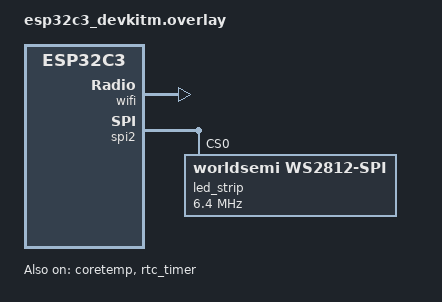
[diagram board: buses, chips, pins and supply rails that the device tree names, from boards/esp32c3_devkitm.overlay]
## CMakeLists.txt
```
# SPDX-License-Identifier: Apache-2.0

# Default board
set(BOARD esp32s3_devkitm/esp32s3/procpu)

cmake_minimum_required(VERSION 3.20.0)

# Select a version-specific config overlay before Zephyr is loaded
file(READ "$ENV{ZEPHYR_BASE}/VERSION" _zephyr_version_file)
string(REGEX MATCH "VERSION_MAJOR = ([0-9]+)" _ ${_zephyr_version_file})
set(_zephyr_major ${CMAKE_MATCH_1})
string(REGEX MATCH "VERSION_MINOR = ([0-9]+)" _ ${_zephyr_version_file})
set(_zephyr_minor ${CMAKE_MATCH_1})
string(REGEX MATCH "PATCHLEVEL = ([0-9]+)" _ ${_zephyr_version_file})
set(_zephyr_patch ${CMAKE_MATCH_1})

if("${_zephyr_major}.${_zephyr_minor}.${_zephyr_patch}" VERSION_GREATER_EQUAL "4.4.99")
  set(OVERLAY_CONFIG "${OVERLAY_CONFIG};${CMAKE_CURRENT_SOURCE_DIR}/overlays/zephyr-v4.5.conf")
elseif("${_zephyr_major}.${_zephyr_minor}.${_zephyr_patch}" VERSION_GREATER_EQUAL "4.3.99")
  set(OVERLAY_CONFIG "${OVERLAY_CONFIG};${CMAKE_CURRENT_SOURCE_DIR}/overlays/zephyr-v4.4.conf")
else()
  set(OVERLAY_CONFIG "${OVERLAY_CONFIG};${CMAKE_CURRENT_SOURCE_DIR}/overlays/zephyr-v4.3.conf")
endif()

find_package(Zephyr REQUIRED HINTS $ENV{ZEPHYR_BASE})
project(wifi)

FILE(GLOB app_sources src/*.c)
target_sources(app PRIVATE ${app_sources})
zephyr_include_directories(config)

# Generate a git hash that's used as part of the software_version, eg
# 1.0.0+12345678. Permit overriding at command line for CI builds.
if (NOT DEFINED ZEPHYR_MEMFAULT_EXAMPLE_GIT_SHA1)
  EXECUTE_PROCESS(
    WORKING_DIRECTORY ${CMAKE_CURRENT_SOURCE_DIR}
    COMMAND git rev-parse --short HEAD
    RESULT_VARIABLE commit_sha1
    OUTPUT_VARIABLE ZEPHYR_MEMFAULT_EXAMPLE_GIT_SHA1
    OUTPUT_STRIP_TRAILING_WHITESPACE
    COMMAND_ERROR_IS_FATAL ANY
  )
endif()

zephyr_compile_definitions(
  ZEPHYR_MEMFAULT_EXAMPLE_GIT_SHA1=\"${ZEPHYR_MEMFAULT_EXAMPLE_GIT_SHA1}\"
)
```

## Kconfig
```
# Application Kconfig file
#
# This is loaded when building this directory with west.
menu "Memfault Example Application Configuration"

config MEMFAULT_APP_OVERRIDE_SOFTWARE_VERSION
	string "Override default software version"
	default ""
	help
	  Set this to override the built-in software version string from the
	  VERSION file. Primarily used for building in CI.

config WIFI_WATCHDOG_ENABLE
	bool "Enable WiFi watchdog"
	default y
	depends on WIFI && MEMFAULT
	help
	  Enable WiFi watchdog that monitors WiFi connectivity and reboots
	  if a known network is available but not connected for a configurable
	  period of time.

config WIFI_WATCHDOG_TIMEOUT_MINUTES
	int "WiFi watchdog timeout in minutes"
	default 5
	depends on WIFI_WATCHDOG_ENABLE
	help
	  Time in minutes to wait before triggering a reboot when WiFi
	  credentials are configured, a known network is detected, but
	  WiFi is not connected.

config WIFI_WATCHDOG_CHECK_INTERVAL_SECONDS
	int "WiFi watchdog check interval in seconds"
	default 30
	depends on WIFI_WATCHDOG_ENABLE
	help
	  Interval in seconds between WiFi watchdog checks.

endmenu

config MEMFAULT_BUILTIN_DEVICE_INFO_SOFTWARE_VERSION
	default MEMFAULT_APP_OVERRIDE_SOFTWARE_VERSION if MEMFAULT_APP_OVERRIDE_SOFTWARE_VERSION != ""

config MCUBOOT_IMGTOOL_SIGN_VERSION
	default MEMFAULT_APP_OVERRIDE_SOFTWARE_VERSION if MEMFAULT_APP_OVERRIDE_SOFTWARE_VERSION != ""

source "Kconfig.zephyr"
```

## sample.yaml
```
common:
  tags: memfault
  platform_allow:
    - esp_wrover_kit/esp32/procpu
    - esp32s3_devkitc/esp32s3/procpu
    - esp32c3_devkitm
    - esp32c6_devkitc/esp32c6/hpcore
sample:
  description: Memfault Zephyr ESP32 Example
  name: zephyr-esp32-example
tests:
  sample.build:
    build_only: true
    extra_configs:
      - CONFIG_MEMFAULT_PROJECT_KEY="dummy"
      # when building with a symlinked test Memfault SDK module, need to disable
      # the meta build output, otherwise it will fail as post-link.
      - CONFIG_BUILD_OUTPUT_META=n
```

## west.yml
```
manifest:
  projects:
    - name: zephyr
      url: https://github.com/zephyrproject-rtos/zephyr
      revision: v4.4.2
      import:
        # Limit the Zephyr modules to the required set
        name-allowlist:
          - hal_espressif
          - mbedtls
          - tf-psa-crypto
          - mcuboot

    - name: memfault-firmware-sdk
      url: https://github.com/memfault/memfault-firmware-sdk
      path: modules/lib/memfault-firmware-sdk
      revision: 1.44.0
```

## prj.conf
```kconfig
CONFIG_EARLY_CONSOLE=y
CONFIG_SHELL=y

CONFIG_NETWORKING=y
# Use the testing RNG. This is NOT suitable for production use. Some devices do
# not have a built-in RNG in Zephyr upstream, so this is convenient for testing.
# CONFIG_TEST_RANDOM_GENERATOR=y

CONFIG_NET_TX_STACK_SIZE=2048
CONFIG_NET_RX_STACK_SIZE=2048

CONFIG_NET_PKT_RX_COUNT=10
CONFIG_NET_PKT_TX_COUNT=10
CONFIG_NET_BUF_RX_COUNT=32
CONFIG_NET_BUF_TX_COUNT=32
CONFIG_NET_BUF_DATA_SIZE=256
CONFIG_NET_DEBUG_NET_PKT_ALLOC=y
CONFIG_MEM_SLAB_TRACE_MAX_UTILIZATION=y

# Network protocols
CONFIG_NET_DHCPV4=y

CONFIG_NET_IPV4=y
CONFIG_NET_IPV6=n

CONFIG_NET_TCP=y

CONFIG_NET_LOG=y
CONFIG_INIT_STACKS=y

CONFIG_NET_SHELL=y

CONFIG_NET_STATISTICS=y
CONFIG_NET_STATISTICS_PERIODIC_OUTPUT=n

CONFIG_WIFI=y
CONFIG_WIFI_LOG_LEVEL_ERR=y
CONFIG_NET_L2_WIFI_SHELL=y

CONFIG_NET_L2_ETHERNET=y

CONFIG_SETTINGS=y
CONFIG_SETTINGS_NVS=y
CONFIG_NVS=y
CONFIG_FLASH=y
CONFIG_FLASH_MAP=y
CONFIG_WIFI_CREDENTIALS=y
CONFIG_WIFI_CREDENTIALS_CONNECT_STORED=y

# Memfault configuration
CONFIG_MEMFAULT=y
CONFIG_MEMFAULT_LOGGING_ENABLE=y
CONFIG_MEMFAULT_HTTP_ENABLE=y
CONFIG_MEMFAULT_HTTP_PERIODIC_UPLOAD=y
CONFIG_MEMFAULT_REBOOT_REASON_CUSTOM_ENABLE=y

# Additional network configuration for Memfault features
CONFIG_DNS_RESOLVER=y
# Increase DNS server max count to 2, for some networks that have a primary and
# secondary DNS server
CONFIG_DNS_RESOLVER_MAX_SERVERS=2
CONFIG_NET_SOCKETS=y
CONFIG_TLS_CREDENTIALS=y
CONFIG_NET_SOCKETS_SOCKOPT_TLS=y
CONFIG_NET_STATISTICS=y
CONFIG_NET_STATISTICS_USER_API=y

# MbedTLS config
CONFIG_MBEDTLS_ENABLE_HEAP=y
CONFIG_MBEDTLS_HEAP_SIZE=30000
CONFIG_MBEDTLS_MEMORY_DEBUG=y
CONFIG_MBEDTLS_SHELL=y
CONFIG_MBEDTLS_AES_ROM_TABLES=y

# Credential shell, useful for debug
CONFIG_TLS_CREDENTIALS_SHELL=y
# Required for TLS crediential shell
CONFIG_BASE64=y

# More verbose Memfault component logs
CONFIG_MEMFAULT_LOG_LEVEL_DBG=y

# Don't log printk() statements, they're meant for raw output to the console.
CONFIG_LOG_PRINTK=n

# Disable these temporarily, for debugging.
CONFIG_MEMFAULT_COREDUMP_COLLECT_DATA_REGIONS=y
CONFIG_MEMFAULT_COREDUMP_COLLECT_KERNEL_REGION=n
CONFIG_MEMFAULT_COREDUMP_COLLECT_TASKS_REGIONS=n

# Memfault's http client needs a small amount of heap. Zephyr requires a minimum
# heap size for the applied configuration, so select that here to prevent a
# build time message
CONFIG_HEAP_MEM_POOL_SIZE=52224
CONFIG_SYS_HEAP_RUNTIME_STATS=y
CONFIG_SHELL_STACK_SIZE=4096
CONFIG_SYSTEM_WORKQUEUE_STACK_SIZE=2048

CONFIG_ASSERT=y

# Enable MCUboot
CONFIG_BOOTLOADER_MCUBOOT=y
CONFIG_MCUBOOT_SHELL=y
CONFIG_MCUBOOT_IMG_MANAGER=y
CONFIG_IMG_MANAGER=y
CONFIG_FLASH=y
CONFIG_FLASH_PAGE_LAYOUT=y
CONFIG_FLASH_MAP=y
CONFIG_STREAM_FLASH=y

# For cpu_temp metric
CONFIG_SENSOR=y
CONFIG_ADC=y

# Enable compiler warnings as errors
CONFIG_COMPILER_WARNINGS_AS_ERRORS=y
```

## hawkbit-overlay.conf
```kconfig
# Hawkbit dependencies
CONFIG_NVS=y
CONFIG_REBOOT=y
CONFIG_HTTP_CLIENT=y
CONFIG_JSON_LIBRARY=y

CONFIG_HAWKBIT=y
CONFIG_HAWKBIT_SHELL=y
CONFIG_HAWKBIT_SERVER="https://device.memfault.com:8080/api/v0/hawkbit"
CONFIG_HAWKBIT_PORT="443"
CONFIG_HAWKBIT_LOG_LEVEL_DBG=y
# Check for updates every 60 minutes
CONFIG_HAWKBIT_POLL_INTERVAL=60
```

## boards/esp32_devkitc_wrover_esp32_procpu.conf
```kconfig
CONFIG_WIFI=y

# For now, capture smaller coredumps to fit available RAM
CONFIG_MEMFAULT_RAM_BACKED_COREDUMP_SIZE=1024

CONFIG_NETWORKING=y
CONFIG_NET_L2_ETHERNET=y

CONFIG_NET_IPV6=n
CONFIG_NET_IPV4=y
CONFIG_NET_DHCPV4=y
CONFIG_ESP32_WIFI_STA_AUTO_DHCPV4=y

CONFIG_NET_LOG=y

# ESP32 original does not have the core temperature sensor
CONFIG_SENSOR=n
CONFIG_ADC=n
```

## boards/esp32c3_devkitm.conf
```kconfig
# For now, capture smaller coredumps to fit available RAM
CONFIG_MEMFAULT_RAM_BACKED_COREDUMP_SIZE=1024

# Override selections from prj.conf to save space on this chip
CONFIG_LOG=y
CONFIG_NET_LOG=n
CONFIG_MEMFAULT_LOGGING_ENABLE=n
CONFIG_NET_SHELL=n

# TODO: Add support for TLS on this chip
# Removed to free up RAM and allow build check to succeed.
CONFIG_MBEDTLS_HEAP_SIZE=0
```

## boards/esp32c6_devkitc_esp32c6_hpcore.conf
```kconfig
# Enable DMA for heartbeat LED
CONFIG_DMA=y
CONFIG_LED_STRIP=y
```

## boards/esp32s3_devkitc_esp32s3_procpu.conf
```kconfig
# Enable external SPI RAM
CONFIG_SPI=y
CONFIG_ESP_SPIRAM=y
```

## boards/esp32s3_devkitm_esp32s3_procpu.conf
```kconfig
# Enable DMA + LED_STRIP for heartbeat LED
CONFIG_DMA=y
CONFIG_LED_STRIP=y
```

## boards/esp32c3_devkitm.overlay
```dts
/*
 * Copyright (c) 2022 Espressif Systems (Shanghai) Co., Ltd.
 *
 * SPDX-License-Identifier: Apache-2.0
 */

#include <zephyr/dt-bindings/led/led.h>

&wifi {
	status = "okay";
};

&coretemp {
	status = "okay";
};

/ {
	aliases {
		led-strip = &led_strip;
	};
};

/* WS2812 RGB LED on GPIO8 via SPI2 */
&spi2 {
	/* Workaround to support WS2812 driver */
	line-idle-low;

	led_strip: ws2812@0 {
		compatible = "worldsemi,ws2812-spi";

		/* SPI */
		reg = <0>;
		spi-max-frequency = <6400000>;

		/* WS2812 */
		chain-length = <1>;
		spi-cpha;
		spi-one-frame = <0xf0>;
		spi-zero-frame = <0xc0>;
		color-mapping = <LED_COLOR_ID_GREEN LED_COLOR_ID_RED LED_COLOR_ID_BLUE>;
	};
};

&pinctrl {
	spim2_default: spim2_default {
		group2 {
			/* WS2812 data on GPIO8 */
			pinmux = <SPIM2_MOSI_GPIO8>;
		};
	};
};

/* Enable the ESP32-C3 RTC timer counter so it can be used for time persistence
 * across soft resets via the counter API and __noinit RAM anchor. */
&rtc_timer {
        status = "okay";
};
```

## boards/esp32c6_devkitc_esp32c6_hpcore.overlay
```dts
/*
 * Copyright (c) 2023 Espressif Systems (Shanghai) Co., Ltd.
 *
 * SPDX-License-Identifier: Apache-2.0
 */

#include <zephyr/dt-bindings/led/led.h>

&wifi {
	status = "okay";
};

&coretemp {
	status = "okay";
};

/ {
	aliases {
		led-strip = &led_strip;
	};
};

/* WS2812 RGB LED on GPIO8 via I2S */
&i2s_default {
	group1 {
		pinmux = <I2S_O_SD_GPIO8>;
	};
};

i2s_led: &i2s {
	status = "okay";

	dmas = <&dma 3>;
	dma-names = "tx";

	led_strip: ws2812@0 {
		compatible = "worldsemi,ws2812-i2s";

		reg = <0>;
		chain-length = <1>;
		color-mapping = <LED_COLOR_ID_GREEN LED_COLOR_ID_RED LED_COLOR_ID_BLUE>;
		reset-delay = <500>;
	};
};

&dma {
	status = "okay";
};

/* Enable the ESP32-C6 RTC timer counter so it can be used for time persistence
 * across soft resets via the counter API and __noinit RAM anchor. */
&rtc_timer {
        status = "okay";
};
```

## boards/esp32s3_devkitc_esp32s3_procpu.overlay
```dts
/*
 * Copyright (c) 2023 Espressif Systems (Shanghai) Co., Ltd.
 *
 * SPDX-License-Identifier: Apache-2.0
 */

#include <zephyr/dt-bindings/led/led.h>

&wifi {
	status = "okay";
};

&coretemp {
	status = "okay";
};

/* 2MB psram. This assumes target board is the ESP32-S3-DevKitC-1-N8R2 */
&psram0 {
	size = <DT_SIZE_M(2)>;
};

/ {
	aliases {
		led-strip = &led_strip;
	};
};

/* WS2812 RGB LED on GPIO38 via I2S0 */
&i2s0_default {
	group1 {
		pinmux = <I2S0_O_SD_GPIO38>;
	};
};

i2s_led: &i2s0 {
	status = "okay";

	dmas = <&dma 3>;
	dma-names = "tx";

	led_strip: ws2812@0 {
		compatible = "worldsemi,ws2812-i2s";

		reg = <0>;
		chain-length = <1>;
		color-mapping = <LED_COLOR_ID_GREEN LED_COLOR_ID_RED LED_COLOR_ID_BLUE>;
		reset-delay = <500>;
	};
};

&dma {
	status = "okay";
};
```

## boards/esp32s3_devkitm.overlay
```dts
/*
 * Copyright (c) 2023 Espressif Systems (Shanghai) Co., Ltd.
 *
 * SPDX-License-Identifier: Apache-2.0
 */

&wifi {
	status = "okay";
};

&coretemp {
	status = "okay";
};
```

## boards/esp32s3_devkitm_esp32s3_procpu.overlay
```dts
/*
 * Copyright (c) 2023 Espressif Systems (Shanghai) Co., Ltd.
 *
 * SPDX-License-Identifier: Apache-2.0
 */

#include <zephyr/dt-bindings/led/led.h>

&wifi {
	status = "okay";
};

&coretemp {
	status = "okay";
};

/ {
	aliases {
		led-strip = &led_strip;
	};
};

/* WS2812 RGB LED on GPIO48 via SPI3 */
&spi3 {
	/* Workaround to support WS2812 driver */
	line-idle-low;

	led_strip: ws2812@0 {
		compatible = "worldsemi,ws2812-spi";

		/* SPI */
		reg = <0>;
		spi-max-frequency = <6400000>;

		/* WS2812 */
		chain-length = <1>;
		spi-cpha;
		spi-one-frame = <0xf0>;
		spi-zero-frame = <0xc0>;
		color-mapping = <LED_COLOR_ID_GREEN LED_COLOR_ID_RED LED_COLOR_ID_BLUE>;
	};
};

&pinctrl {
	spim3_default: spim3_default {
		group2 {
			/* WS2812 data on GPIO48 */
			pinmux = <SPIM3_MOSI_GPIO48>;
		};
	};
};
```

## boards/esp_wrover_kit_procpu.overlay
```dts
&wifi {
	status = "okay";
};

/ {
	aliases {
		heartbeat-led = &red_led;
	};
};
```

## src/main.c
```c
//! @file

#include <stdio.h>
#include <string.h>
#include <zephyr/app_version.h>
#include <zephyr/kernel.h>
#include <zephyr/logging/log.h>
#include <zephyr/net/net_if.h>
#include <zephyr/net/net_mgmt.h>
#include <zephyr/net/wifi_mgmt.h>

#include "memfault/components.h"
#include "memfault/ports/zephyr/core.h"
#include "memfault/ports/zephyr/http.h"

LOG_MODULE_REGISTER(mflt_app, LOG_LEVEL_DBG);

// This will be available in the memfault/ports/zephyr/core.h header in a later
// Memfault SDK release
extern const char* memfault_zephyr_get_device_id(void);

static const char* prv_get_software_version(void) {
  static char s_software_version[64];

  // CI builds will often set git sha = "". in that case, omit that portion of
  // the software version string
  if (ZEPHYR_MEMFAULT_EXAMPLE_GIT_SHA1[0] == '\0') {
    return CONFIG_MEMFAULT_BUILTIN_DEVICE_INFO_SOFTWARE_VERSION;
  }

  // Otherwise, append it to demonstrate how to include git sha in the software
  // version string
  snprintf(s_software_version, sizeof(s_software_version), "%s+%s",
           CONFIG_MEMFAULT_BUILTIN_DEVICE_INFO_SOFTWARE_VERSION,
           ZEPHYR_MEMFAULT_EXAMPLE_GIT_SHA1);
  return s_software_version;
}

void memfault_platform_get_device_info(sMemfaultDeviceInfo* info) {
  // override the software version only to demonstrate inserting the GIT SHA
  *info = (sMemfaultDeviceInfo){
      .device_serial = memfault_zephyr_get_device_id(),
      .software_type = CONFIG_MEMFAULT_BUILTIN_DEVICE_INFO_SOFTWARE_TYPE,
      .software_version = prv_get_software_version(),
      .hardware_version = CONFIG_MEMFAULT_BUILTIN_DEVICE_INFO_HARDWARE_VERSION,
  };
}

int main(void) {
  LOG_INF("Memfault Demo App! Board %s\n", CONFIG_BOARD);

  printk("\n" MEMFAULT_BANNER_COLORIZED);

  memfault_device_info_dump();
  memfault_zephyr_port_install_root_certs();

  // Initiate auto connection on the wifi interface
  struct net_if* iface = net_if_get_wifi_sta();  // net_if_get_default();
  int rc = net_mgmt(NET_REQUEST_WIFI_CONNECT_STORED, iface, NULL, 0);

  if (rc) {
    printk(
        "an error occurred when trying to auto-connect to a network. err: %d",
        rc);
  }

  return 0;
}
```

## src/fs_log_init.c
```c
//! @file

#if defined(CONFIG_FILE_SYSTEM)

  #include <zephyr/device.h>
  #include <zephyr/fs/fs.h>
  #include <zephyr/kernel.h>
  #include <zephyr/logging/log.h>
  #include <zephyr/logging/log_ctrl.h>
  #include <zephyr/storage/disk_access.h>

LOG_MODULE_REGISTER(fs_log_init, LOG_LEVEL_INF);

  #include <ff.h>

/*
 *  Note the fatfs library is able to mount only strings inside _VOLUME_STRS
 *  in ffconf.h
 */
  #define DISK_DRIVE_NAME "SD"

  #define DISK_MOUNT_PT "/" DISK_DRIVE_NAME ":"

_Static_assert(FR_OK == 0, "FR_OK must be 0");

static FATFS fat_fs;
/* mounting info */
static struct fs_mount_t mp = {
  .type = FS_FATFS,
  .fs_data = &fat_fs,
  .mnt_point = DISK_MOUNT_PT,
};

static void prv_ioctl_test(void) {
  do {
    static const char *disk_pdrv = DISK_DRIVE_NAME;
    uint64_t memory_size_mb;
    uint32_t block_count;
    uint32_t block_size;

    if (disk_access_ioctl(disk_pdrv, DISK_IOCTL_CTRL_INIT, NULL) != 0) {
      LOG_ERR("Storage init ERROR!");
      break;
    }

    if (disk_access_ioctl(disk_pdrv, DISK_IOCTL_GET_SECTOR_COUNT, &block_count)) {
      LOG_ERR("Unable to get sector count");
      break;
    }

    if (disk_access_ioctl(disk_pdrv, DISK_IOCTL_GET_SECTOR_SIZE, &block_size)) {
      LOG_ERR("Unable to get sector size");
      break;
    }

    memory_size_mb = (uint64_t)block_count * block_size;

    LOG_INF("Sector size %u / Memory Size(MB) %u", block_size, (uint32_t)(memory_size_mb >> 20));

    if (disk_access_ioctl(disk_pdrv, DISK_IOCTL_CTRL_DEINIT, NULL) != 0) {
      LOG_ERR("Storage deinit ERROR!");
      break;
    }
  } while (0);
}

int fs_log_init(void) {
  prv_ioctl_test();

  LOG_INF("ioctl_test completed.");

  LOG_INF("Mounting disk at '%s'", DISK_MOUNT_PT);
  int res = fs_mount(&mp);

  if (res == 0) {
    LOG_INF("Disk mounted.");
    // now safe to initialize the fs log backend
    const struct log_backend *backend = log_backend_get_by_name("log_backend_fs");

    if (backend == NULL) {
      LOG_ERR("Log backend 'log_backend_fs' not found.");
      return -ENODEV;
    }

    log_backend_enable(backend, backend->cb->ctx, CONFIG_LOG_MAX_LEVEL);
    LOG_INF("File system log backend enabled.");
  }

  // fs_unmount(&mp);

  return 0;
}

#endif  // CONFIG_FILE_SYSTEM
```

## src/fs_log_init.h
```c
#pragma once

int fs_log_init(void);
```

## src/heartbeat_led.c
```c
//! @file
//!
//! @brief Heartbeat LED module.
//!
//! Blinks an LED at a 1-second interval to indicate the device is running.
//!
//! On boards with a WS2812 RGB LED (CONFIG_HEARTBEAT_LED_STRIP):
//!   - GREEN when WiFi is connected
//!   - RED when WiFi is not connected
//!
//! On boards with a simple GPIO LED (CONFIG_HEARTBEAT_LED_GPIO):
//!   - Blinks unconditionally at a 1-second interval

#include <zephyr/kernel.h>
#include <zephyr/logging/log.h>

LOG_MODULE_REGISTER(heartbeat_led, LOG_LEVEL_DBG);

// Blink half-period: 500ms on + 500ms off = 1 second total
#define HEARTBEAT_BLINK_HALF_PERIOD_MS 500

#define HEARTBEAT_LED_STACK_SIZE 1024
#define HEARTBEAT_LED_PRIORITY 7

#if defined(CONFIG_HEARTBEAT_LED_STRIP)

#include <zephyr/drivers/led_strip.h>
#include <zephyr/net/net_mgmt.h>
#include <zephyr/net/wifi_mgmt.h>

static const struct device* s_led_strip = DEVICE_DT_GET(DT_ALIAS(led_strip));

static bool s_wifi_connected = false;
static struct net_mgmt_event_callback s_wifi_led_mgmt_cb;

// WiFi event handler to track connection state
static void prv_wifi_event_handler(struct net_mgmt_event_callback* cb,
                                   uint64_t mgmt_event, struct net_if* iface) {
  ARG_UNUSED(iface);
  if (mgmt_event == NET_EVENT_WIFI_CONNECT_RESULT) {
    const struct wifi_status* status = (const struct wifi_status*)cb->info;
    s_wifi_connected = (status->status == 0);
    LOG_DBG("Heartbeat LED: WiFi %s",
            s_wifi_connected ? "connected" : "failed");
  } else if (mgmt_event == NET_EVENT_WIFI_DISCONNECT_RESULT) {
    s_wifi_connected = false;
    LOG_DBG("Heartbeat LED: WiFi disconnected");
  }
}

static void prv_heartbeat_led_thread(void* arg1, void* arg2, void* arg3) {
  ARG_UNUSED(arg1);
  ARG_UNUSED(arg2);
  ARG_UNUSED(arg3);

  net_mgmt_init_event_callback(
      &s_wifi_led_mgmt_cb, prv_wifi_event_handler,
      NET_EVENT_WIFI_CONNECT_RESULT | NET_EVENT_WIFI_DISCONNECT_RESULT);
  net_mgmt_add_event_callback(&s_wifi_led_mgmt_cb);

  if (!device_is_ready(s_led_strip)) {
    LOG_ERR("LED strip device not ready");
    return;
  }

  bool led_on = false;
  while (1) {
    led_on = !led_on;

    struct led_rgb pixel;
    if (led_on) {
      if (s_wifi_connected) {
        // Green: WiFi connected
        pixel = (struct led_rgb){.r = 0, .g = 32, .b = 0};
      } else {
        // Red: WiFi not connected
        pixel = (struct led_rgb){.r = 32, .g = 0, .b = 0};
      }
    } else {
      // Off
      pixel = (struct led_rgb){.r = 0, .g = 0, .b = 0};
    }

    int rc = led_strip_update_rgb(s_led_strip, &pixel, 1);
    if (rc != 0) {
      LOG_ERR("LED strip update failed: %d", rc);
    }

    k_sleep(K_MSEC(HEARTBEAT_BLINK_HALF_PERIOD_MS));
  }
}

#elif defined(CONFIG_HEARTBEAT_LED_GPIO)

#include <zephyr/drivers/gpio.h>

static const struct gpio_dt_spec s_led =
    GPIO_DT_SPEC_GET(DT_ALIAS(heartbeat_led), gpios);

static void prv_heartbeat_led_thread(void* arg1, void* arg2, void* arg3) {
  ARG_UNUSED(arg1);
  ARG_UNUSED(arg2);
  ARG_UNUSED(arg3);

  if (!gpio_is_ready_dt(&s_led)) {
    LOG_ERR("Heartbeat LED GPIO not ready");
    return;
  }

  int rc = gpio_pin_configure_dt(&s_led, GPIO_OUTPUT_INACTIVE);
  if (rc != 0) {
    LOG_ERR("Failed to configure heartbeat LED GPIO: %d", rc);
    return;
  }

  while (1) {
    gpio_pin_toggle_dt(&s_led);
    k_sleep(K_MSEC(HEARTBEAT_BLINK_HALF_PERIOD_MS));
  }
}

#endif /* CONFIG_HEARTBEAT_LED_STRIP / CONFIG_HEARTBEAT_LED_GPIO */

#if defined(CONFIG_HEARTBEAT_LED_STRIP) || defined(CONFIG_HEARTBEAT_LED_GPIO)

K_THREAD_DEFINE(heartbeat_led_thread, HEARTBEAT_LED_STACK_SIZE,
                prv_heartbeat_led_thread, NULL, NULL, NULL,
                HEARTBEAT_LED_PRIORITY, 0, 0);

#endif /* CONFIG_HEARTBEAT_LED_STRIP || CONFIG_HEARTBEAT_LED_GPIO */
```

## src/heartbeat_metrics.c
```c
//! @file
//!
//! @brief Central Memfault heartbeat metrics collection point.
//!
//! The Memfault SDK calls memfault_metrics_heartbeat_collect_data() once per
//! heartbeat period.  This single implementation delegates to every module
//! that exports a *_metrics_collect() helper, guarded by the module's own
//! CONFIG option so the linker eliminates unused code automatically.

#include <zephyr/logging/log.h>

#include "memfault/components.h"

LOG_MODULE_REGISTER(heartbeat_metrics, LOG_LEVEL_DBG);

// Forward declarations – each module provides a collector when enabled.
// The declarations are guarded so this file carries no build dependency on
// disabled modules.
#if defined(CONFIG_WIFI_WATCHDOG_ENABLE)
extern void wifi_watchdog_metrics_collect(void);
#endif

#if defined(CONFIG_SNTP_TIME_SYNC_ENABLE)
extern void sntp_time_sync_metrics_collect(void);
#endif

void memfault_metrics_heartbeat_collect_data(void) {
#if defined(CONFIG_WIFI_WATCHDOG_ENABLE)
  wifi_watchdog_metrics_collect();
#endif

#if defined(CONFIG_SNTP_TIME_SYNC_ENABLE)
  sntp_time_sync_metrics_collect();
#endif
}
```

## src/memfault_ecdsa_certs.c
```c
//! @file
//!
//! Install the GTS Root R4 CA certificate for the ECDSA proxy endpoint
//! (device-ecdsa-proxy.memfault.workers.dev).
//!
//! Trust chain: leaf (EC P-256) -> Google WE1 (EC P-256) -> GTS Root R4 (EC P-384, self-signed)
//! Source: Mozilla certifi bundle, SHA-256:
//!   34:9d:fa:40:58:c5:e2:63:12:3b:39:8a:e7:95:57:3c:
//!   4e:13:13:c8:3f:e6:8f:93:55:6c:d5:e8:03:1b:3c:7d

#include <errno.h>
#include <stddef.h>
#include <zephyr/net/tls_credentials.h>

#include "memfault/core/debug_log.h"

// Must match MEMFAULT_PLATFORM_ROOT_CERTS_ID_LIST in memfault_platform_config.h
#define GTS_ROOT_R4_SEC_TAG 2000

// GTS Root R4 - Google Trust Services LLC, valid 2016-2036, ECDSA P-384
static const uint8_t s_gts_root_r4_der[] = {
  0x30, 0x82, 0x02, 0x09, 0x30, 0x82, 0x01, 0x8e, 0xa0, 0x03, 0x02, 0x01,
  0x02, 0x02, 0x0d, 0x02, 0x03, 0xe5, 0xc0, 0x68, 0xef, 0x63, 0x1a, 0x9c,
  0x72, 0x90, 0x50, 0x52, 0x30, 0x0a, 0x06, 0x08, 0x2a, 0x86, 0x48, 0xce,
  0x3d, 0x04, 0x03, 0x03, 0x30, 0x47, 0x31, 0x0b, 0x30, 0x09, 0x06, 0x03,
  0x55, 0x04, 0x06, 0x13, 0x02, 0x55, 0x53, 0x31, 0x22, 0x30, 0x20, 0x06,
  0x03, 0x55, 0x04, 0x0a, 0x13, 0x19, 0x47, 0x6f, 0x6f, 0x67, 0x6c, 0x65,
  0x20, 0x54, 0x72, 0x75, 0x73, 0x74, 0x20, 0x53, 0x65, 0x72, 0x76, 0x69,
  0x63, 0x65, 0x73, 0x20, 0x4c, 0x4c, 0x43, 0x31, 0x14, 0x30, 0x12, 0x06,
  0x03, 0x55, 0x04, 0x03, 0x13, 0x0b, 0x47, 0x54, 0x53, 0x20, 0x52, 0x6f,
  0x6f, 0x74, 0x20, 0x52, 0x34, 0x30, 0x1e, 0x17, 0x0d, 0x31, 0x36, 0x30,
  0x36, 0x32, 0x32, 0x30, 0x30, 0x30, 0x30, 0x30, 0x30, 0x5a, 0x17, 0x0d,
  0x33, 0x36, 0x30, 0x36, 0x32, 0x32, 0x30, 0x30, 0x30, 0x30, 0x30, 0x30,
  0x5a, 0x30, 0x47, 0x31, 0x0b, 0x30, 0x09, 0x06, 0x03, 0x55, 0x04, 0x06,
  0x13, 0x02, 0x55, 0x53, 0x31, 0x22, 0x30, 0x20, 0x06, 0x03, 0x55, 0x04,
  0x0a, 0x13, 0x19, 0x47, 0x6f, 0x6f, 0x67, 0x6c, 0x65, 0x20, 0x54, 0x72,
  0x75, 0x73, 0x74, 0x20, 0x53, 0x65, 0x72, 0x76, 0x69, 0x63, 0x65, 0x73,
  0x20, 0x4c, 0x4c, 0x43, 0x31, 0x14, 0x30, 0x12, 0x06, 0x03, 0x55, 0x04,
  0x03, 0x13, 0x0b, 0x47, 0x54, 0x53, 0x20, 0x52, 0x6f, 0x6f, 0x74, 0x20,
  0x52, 0x34, 0x30, 0x76, 0x30, 0x10, 0x06, 0x07, 0x2a, 0x86, 0x48, 0xce,
  0x3d, 0x02, 0x01, 0x06, 0x05, 0x2b, 0x81, 0x04, 0x00, 0x22, 0x03, 0x62,
  0x00, 0x04, 0xf3, 0x74, 0x73, 0xa7, 0x68, 0x8b, 0x60, 0xae, 0x43, 0xb8,
  0x35, 0xc5, 0x81, 0x30, 0x7b, 0x4b, 0x49, 0x9d, 0xfb, 0xc1, 0x61, 0xce,
  0xe6, 0xde, 0x46, 0xbd, 0x6b, 0xd5, 0x61, 0x18, 0x35, 0xae, 0x40, 0xdd,
  0x73, 0xf7, 0x89, 0x91, 0x30, 0x5a, 0xeb, 0x3c, 0xee, 0x85, 0x7c, 0xa2,
  0x40, 0x76, 0x3b, 0xa9, 0xc6, 0xb8, 0x47, 0xd8, 0x2a, 0xe7, 0x92, 0x91,
  0x6a, 0x73, 0xe9, 0xb1, 0x72, 0x39, 0x9f, 0x29, 0x9f, 0xa2, 0x98, 0xd3,
  0x5f, 0x5e, 0x58, 0x86, 0x65, 0x0f, 0xa1, 0x84, 0x65, 0x06, 0xd1, 0xdc,
  0x8b, 0xc9, 0xc7, 0x73, 0xc8, 0x8c, 0x6a, 0x2f, 0xe5, 0xc4, 0xab, 0xd1,
  0x1d, 0x8a, 0xa3, 0x42, 0x30, 0x40, 0x30, 0x0e, 0x06, 0x03, 0x55, 0x1d,
  0x0f, 0x01, 0x01, 0xff, 0x04, 0x04, 0x03, 0x02, 0x01, 0x86, 0x30, 0x0f,
  0x06, 0x03, 0x55, 0x1d, 0x13, 0x01, 0x01, 0xff, 0x04, 0x05, 0x30, 0x03,
  0x01, 0x01, 0xff, 0x30, 0x1d, 0x06, 0x03, 0x55, 0x1d, 0x0e, 0x04, 0x16,
  0x04, 0x14, 0x80, 0x4c, 0xd6, 0xeb, 0x74, 0xff, 0x49, 0x36, 0xa3, 0xd5,
  0xd8, 0xfc, 0xb5, 0x3e, 0xc5, 0x6a, 0xf0, 0x94, 0x1d, 0x8c, 0x30, 0x0a,
  0x06, 0x08, 0x2a, 0x86, 0x48, 0xce, 0x3d, 0x04, 0x03, 0x03, 0x03, 0x69,
  0x00, 0x30, 0x66, 0x02, 0x31, 0x00, 0xe8, 0x40, 0xff, 0x83, 0xde, 0x03,
  0xf4, 0x9f, 0xae, 0x1d, 0x7a, 0xa7, 0x2e, 0xb9, 0xaf, 0x4f, 0xf6, 0x83,
  0x1d, 0x0e, 0x2d, 0x85, 0x01, 0x1d, 0xd1, 0xd9, 0x6a, 0xec, 0x0f, 0xc2,
  0xaf, 0xc7, 0x5e, 0x56, 0x5e, 0x5c, 0xd5, 0x1c, 0x58, 0x22, 0x28, 0x0b,
  0xf7, 0x30, 0xb6, 0x2f, 0xb1, 0x7c, 0x02, 0x31, 0x00, 0xf0, 0x61, 0x3c,
  0xa7, 0xf4, 0xa0, 0x82, 0xe3, 0x21, 0xd5, 0x84, 0x1d, 0x73, 0x86, 0x9c,
  0x2d, 0xaf, 0xca, 0x34, 0x9b, 0xf1, 0x9f, 0xb9, 0x23, 0x36, 0xe2, 0xbc,
  0x60, 0x03, 0x9d, 0x80, 0xb3, 0x9a, 0x56, 0xc8, 0xe1, 0xe2, 0xbb, 0x14,
  0x79, 0xca, 0xcd, 0x21, 0xd4, 0x94, 0xb5, 0x49, 0x43,
};

int memfault_install_ecdsa_certs(void) {
  int rv = tls_credential_add(GTS_ROOT_R4_SEC_TAG, TLS_CREDENTIAL_CA_CERTIFICATE,
                              s_gts_root_r4_der, sizeof(s_gts_root_r4_der));
  if (rv == -EEXIST) {
    return 0;
  }
  if (rv != 0) {
    MEMFAULT_LOG_ERROR("Failed to install GTS Root R4 cert (sec_tag=%d): %d",
                       GTS_ROOT_R4_SEC_TAG, rv);
  }
  return rv;
}
```

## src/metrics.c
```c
//! @file

#include <lfs.h>
#include <zephyr/drivers/flash.h>
#include <zephyr/storage/flash_map.h>

#include "memfault/components.h"

extern int __real_flash_area_write(const struct flash_area *fa, off_t off, const void *src,
                                   size_t len);

int __wrap_flash_area_write(const struct flash_area *fa, off_t off, const void *src, size_t len) {
  MEMFAULT_METRIC_ADD(flash_write_bytes, len);
  return __real_flash_area_write(fa, off, src, len);
}

extern int __real_flash_area_erase(const struct flash_area *fa, off_t off, size_t len);

int __wrap_flash_area_erase(const struct flash_area *fa, off_t off, size_t len) {
  // We are using an assumption that LFS is erasing in single blocks at a time.
  // Better would be to stash the page size by running
  // flash_get_page_info_by_offs() (on init?) and then use that to calculate the
  // number of pages being erased.
  MEMFAULT_METRIC_ADD(flash_erase_count, 1);

  return __real_flash_area_erase(fa, off, len);
}

extern int __real_flash_area_flatten(const struct flash_area *fa, off_t off, size_t len);

int __wrap_flash_area_flatten(const struct flash_area *fa, off_t off, size_t len) {
  MEMFAULT_METRIC_ADD(flash_erase_count, 1);
  return __real_flash_area_flatten(fa, off, len);
}
```

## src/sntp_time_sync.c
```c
//! @file
//!
//! @brief SNTP / real-time clock synchronization module.
//!
//! On each WiFi connect event a dedicated thread wakes up, waits 2 s for
//! DHCP/DNS to settle, then queries CONFIG_SNTP_TIME_SYNC_SERVER using the
//! Zephyr SNTP client API (sntp_init / sntp_query / sntp_close).  On success
//! the kernel real-time clock is set via sys_clock_settime(SYS_CLOCK_REALTIME)
//! so that CONFIG_LOG_TIMESTAMP_USE_REALTIME shows accurate UTC times in logs.
//!
//! The thread also re-syncs automatically every
//! CONFIG_SNTP_TIME_SYNC_RESYNC_INTERVAL_SECONDS while WiFi stays connected.
//!
//! Time persistence across soft resets (watchdog, crash, SW reset):
//!   Per the ESP32 hardware docs (espressif,esp32-rtc-timer): "Any reset/sleep
//!   mode, except for the power-up reset, will not stop or reset the RTC Timer.
//!   There is also no need to enable the RTC Timer node, it starts running from
//!   power-up."
//!
//!   We exploit this as follows:
//!   - On every SNTP sync, a (unix_sec, counter_ticks) anchor is written into a
//!     struct placed in RTC slow RAM via RTC_NOINIT_ATTR (esp_attr.h section
//!     ".rtc_noinit").  RTC slow RAM is a separate hardware region that is NOT
//!     cleared on soft resets, and is not part of the .data/.bss segment, so it
//!     is immune to FOTA updates changing the main RAM layout.
//!   - On boot, if the magic sentinel in the anchor is intact (soft reset
//!   path),
//!     we read the current counter ticks, compute elapsed seconds, and restore
//!     the kernel clock before the first SNTP sync fires.
//!   - On a power-on reset, RTC slow RAM IS cleared → magic is 0 → we skip
//!     restoration and wait for SNTP.  The counter itself is already running
//!     from power-up so the first SNTP sync will immediately produce a valid
//!     anchor.
//!
//! Required Kconfig:
//!   CONFIG_SNTP=y
//!   CONFIG_NET_UDP=y          (SNTP runs over UDP)
//!   CONFIG_DNS_RESOLVER=y     (for zsock_getaddrinfo)
//!   CONFIG_COUNTER=y          (counter API for RTC timer)
//!   CONFIG_SNTP_TIME_SYNC_ENABLE=y   (this module, default y)

#include <esp_attr.h>  // RTC_NOINIT_ATTR – places data in .rtc_noinit (RTC slow RAM)
#include <time.h>  // struct tm, struct timespec, gmtime_r
#include <zephyr/drivers/counter.h>
#include <zephyr/kernel.h>
#include <zephyr/logging/log.h>
#include <zephyr/net/net_if.h>
#include <zephyr/net/net_mgmt.h>
#include <zephyr/net/sntp.h>
#include <zephyr/net/socket.h>
#include <zephyr/net/wifi_mgmt.h>
#include <zephyr/sys/clock.h>

#include "memfault/components.h"

LOG_MODULE_REGISTER(sntp_time_sync, LOG_LEVEL_DBG);

#if defined(CONFIG_SNTP_TIME_SYNC_ENABLE)

// Heartbeat counter: successful SNTP syncs in the current period
static uint32_t s_sync_count = 0;

// Clock delta from the most recent sync where the pre-sync clock was valid.
// Signed: positive = system was behind NTP, negative = system was ahead.
static int32_t s_last_sync_delta_s = 0;
static bool s_sync_delta_valid = false;

// ----------------------------------------------------------------------------
// RTC anchor: persists time across soft resets via RTC slow RAM.
// RTC_NOINIT_ATTR (from esp_attr.h) places the struct in the .rtc_noinit
// linker section, which maps to the ESP32 RTC slow memory region.  This region
// is NOT cleared on soft resets (watchdog, crash, SW reset), and is entirely
// separate from the main .data/.bss segment, so it is unaffected by FOTA
// updates that change the normal RAM layout.  A magic sentinel detects fresh
// power-on resets where RTC slow RAM IS cleared by hardware.
// ----------------------------------------------------------------------------

#define RTC_ANCHOR_MAGIC UINT64_C(0xB00710E700C10C1F)

struct rtc_anchor {
  uint64_t magic;
  int64_t unix_sec;  // Unix seconds recorded at last SNTP sync
  uint64_t ticks;    // Counter ticks at that moment
};

// RTC_NOINIT_ATTR: placed in RTC slow RAM (.rtc_noinit section).
// Survives soft resets; cleared only on power-on reset.
static RTC_NOINIT_ATTR struct rtc_anchor s_rtc_anchor;

#if DT_NODE_HAS_STATUS(DT_NODELABEL(rtc_timer), okay)
static const struct device* const s_rtc_counter_dev =
    DEVICE_DT_GET(DT_NODELABEL(rtc_timer));
#endif

// WiFi connection state – written by net_mgmt callback, read by the thread
static volatile bool s_wifi_connected = false;

// Semaphore given each time WiFi connects; wakes the sync thread.
// Max count 1 so rapid connect/disconnect events collapse to one wakeup.
static K_SEM_DEFINE(s_wifi_connected_sem, 0, 1);

// ----------------------------------------------------------------------------
// WiFi event handler
// ----------------------------------------------------------------------------

static struct net_mgmt_event_callback s_wifi_mgmt_cb;

static void prv_wifi_event_handler(struct net_mgmt_event_callback* cb,
                                   uint64_t mgmt_event, struct net_if* iface) {
  switch (mgmt_event) {
    case NET_EVENT_WIFI_CONNECT_RESULT: {
      const struct wifi_status* status = (const struct wifi_status*)cb->info;
      if (status->status == 0) {
        s_wifi_connected = true;
        k_sem_give(&s_wifi_connected_sem);
      }
      break;
    }
    case NET_EVENT_WIFI_DISCONNECT_RESULT:
      s_wifi_connected = false;
      break;
    default:
      break;
  }
}

// ----------------------------------------------------------------------------
// SNTP query helper
// ----------------------------------------------------------------------------

static int prv_sntp_sync(void) {
  // Resolve the NTP server hostname to an IPv4 address
  struct zsock_addrinfo hints = {
      .ai_family = AF_INET,
      .ai_socktype = SOCK_DGRAM,
  };
  struct zsock_addrinfo* res = NULL;

  int rc = zsock_getaddrinfo(CONFIG_SNTP_TIME_SYNC_SERVER, "123", &hints, &res);
  if (rc != 0 || res == NULL) {
    LOG_ERR("DNS lookup for '%s' failed: %d", CONFIG_SNTP_TIME_SYNC_SERVER, rc);
    return -EHOSTUNREACH;
  }

  struct sntp_ctx ctx;
  rc = sntp_init(&ctx, res->ai_addr, res->ai_addrlen);
  zsock_freeaddrinfo(res);
  if (rc < 0) {
    LOG_ERR("sntp_init failed: %d", rc);
    return rc;
  }

  struct sntp_time sntp_time;
  rc = sntp_query(&ctx, 4 * MSEC_PER_SEC, &sntp_time);
  sntp_close(&ctx);

  if (rc < 0) {
    LOG_WRN("SNTP query failed: %d", rc);
    return rc;
  }

  // If the system clock is already valid (> Jan 1 2023), record the delta
  // between the current kernel time and the SNTP-provided time.  We exclude
  // the initial sync from epoch so the metric only reflects genuine drift.
#define UNIX_JAN_2023 1672531200LL
  struct timespec ts_before;
  if (sys_clock_gettime(SYS_CLOCK_REALTIME, &ts_before) == 0 &&
      ts_before.tv_sec > UNIX_JAN_2023) {
    s_last_sync_delta_s =
        (int32_t)((int64_t)sntp_time.seconds - (int64_t)ts_before.tv_sec);
    s_sync_delta_valid = true;
    LOG_DBG("SNTP clock delta: %ds", s_last_sync_delta_s);
  }

  // Set the kernel real-time clock
  struct timespec ts = {
      .tv_sec = (time_t)sntp_time.seconds,
      .tv_nsec = 0,
  };
  int set_rc = sys_clock_settime(SYS_CLOCK_REALTIME, &ts);
  if (set_rc != 0) {
    LOG_WRN("sys_clock_settime failed: %d", set_rc);
  }

#if DT_NODE_HAS_STATUS(DT_NODELABEL(rtc_timer), okay)
  // Save a (unix_sec, ticks) anchor so time survives a soft reset.
  // counter_get_value_64 gives full 64-bit precision, avoiding 32-bit
  // wraparound.
  if (device_is_ready(s_rtc_counter_dev)) {
    uint64_t ticks;
    if (counter_get_value_64(s_rtc_counter_dev, &ticks) == 0) {
      s_rtc_anchor.unix_sec = (int64_t)sntp_time.seconds;
      s_rtc_anchor.ticks = ticks;
      s_rtc_anchor.magic = RTC_ANCHOR_MAGIC;
      LOG_DBG("RTC anchor saved (unix=%lld ticks=%llu)", s_rtc_anchor.unix_sec,
              s_rtc_anchor.ticks);
    }
  } else {
    LOG_WRN("RTC counter device not ready");
  }
#endif

  // Log the synced time as human-readable UTC
  struct tm utc;
  gmtime_r(&ts.tv_sec, &utc);
  LOG_INF("SNTP sync OK - UTC: %04d-%02d-%02d %02d:%02d:%02d",
          utc.tm_year + 1900, utc.tm_mon + 1, utc.tm_mday, utc.tm_hour,
          utc.tm_min, utc.tm_sec);

  s_sync_count++;
  return 0;
}

// ----------------------------------------------------------------------------
// Sync thread
// ----------------------------------------------------------------------------

static void prv_sntp_sync_thread(void* a, void* b, void* c) {
  ARG_UNUSED(a);
  ARG_UNUSED(b);
  ARG_UNUSED(c);

  while (1) {
    // Block until a WiFi-connect event fires or the re-sync interval elapses
    k_sem_take(&s_wifi_connected_sem,
               K_SECONDS(CONFIG_SNTP_TIME_SYNC_RESYNC_INTERVAL_SECONDS));

    if (!s_wifi_connected) {
      LOG_DBG("WiFi not connected, skipping SNTP sync");
      continue;
    }

    // Brief delay to let DHCP and DNS server assignment settle
    k_sleep(K_SECONDS(2));

    prv_sntp_sync();
  }
}

#define SNTP_THREAD_STACK_SIZE 2048
#define SNTP_THREAD_PRIORITY 6

K_THREAD_DEFINE(sntp_sync_thread, SNTP_THREAD_STACK_SIZE, prv_sntp_sync_thread,
                NULL, NULL, NULL, SNTP_THREAD_PRIORITY, 0, 0);

// ----------------------------------------------------------------------------
// Metrics collection helper – called from heartbeat_metrics.c
// ----------------------------------------------------------------------------

void sntp_time_sync_metrics_collect(void) {
  int rc = memfault_metrics_heartbeat_add(MEMFAULT_METRICS_KEY(sntp_sync_count),
                                          s_sync_count);
  if (rc != 0) {
    LOG_ERR("Failed to add sntp_sync_count metric: %d", rc);
  } else {
    LOG_DBG("sntp_sync_count += %u", s_sync_count);
  }
  s_sync_count = 0;

  if (s_sync_delta_valid) {
    rc = memfault_metrics_heartbeat_set_signed(
        MEMFAULT_METRICS_KEY(sntp_sync_delta_seconds), s_last_sync_delta_s);
    if (rc != 0) {
      LOG_ERR("Failed to set sntp_sync_delta_seconds metric: %d", rc);
    } else {
      LOG_DBG("sntp_sync_delta_seconds = %d", s_last_sync_delta_s);
    }
    s_sync_delta_valid = false;
  }
}

// ----------------------------------------------------------------------------
// Initialisation
// ----------------------------------------------------------------------------

static int sntp_time_sync_init(void) {
  LOG_INF("SNTP time sync initialized (server: %s, resync interval: %ds)",
          CONFIG_SNTP_TIME_SYNC_SERVER,
          CONFIG_SNTP_TIME_SYNC_RESYNC_INTERVAL_SECONDS);

#if DT_NODE_HAS_STATUS(DT_NODELABEL(rtc_timer), okay)
  // Restore time from the RTC slow RAM anchor if the magic is intact (meaning
  // this is a soft reset, not a power-on reset).  Read the current counter
  // value, compute elapsed seconds using counter_get_frequency, and set the
  // kernel real-time clock so log timestamps are correct before SNTP first
  // fires.
  if (device_is_ready(s_rtc_counter_dev) &&
      s_rtc_anchor.magic == RTC_ANCHOR_MAGIC) {
    uint64_t ticks_now;
    if (counter_get_value_64(s_rtc_counter_dev, &ticks_now) == 0) {
      uint32_t freq = counter_get_frequency(s_rtc_counter_dev);
      int64_t elapsed_sec =
          (int64_t)((ticks_now - s_rtc_anchor.ticks) / (uint64_t)freq);
      int64_t current_unix = s_rtc_anchor.unix_sec + elapsed_sec;
      // Sanity: reject anything before Jan 1 2020
      if (current_unix > 1577836800LL) {
        struct timespec ts = {.tv_sec = (time_t)current_unix, .tv_nsec = 0};
        int rc = sys_clock_settime(SYS_CLOCK_REALTIME, &ts);
        if (rc == 0) {
          struct tm utc;
          gmtime_r(&ts.tv_sec, &utc);
          LOG_INF(
              "Restored time from RTC: %04d-%02d-%02d %02d:%02d:%02d UTC "
              "(elapsed %llds)",
              utc.tm_year + 1900, utc.tm_mon + 1, utc.tm_mday, utc.tm_hour,
              utc.tm_min, utc.tm_sec, (long long)elapsed_sec);
        } else {
          LOG_WRN("sys_clock_settime from RTC anchor failed: %d", rc);
        }
      } else {
        LOG_DBG("RTC anchor time implausible - waiting for SNTP");
        s_rtc_anchor.magic = 0;  // invalidate so we don't use it again
      }
    }
  }
#endif

  net_mgmt_init_event_callback(
      &s_wifi_mgmt_cb, prv_wifi_event_handler,
      NET_EVENT_WIFI_CONNECT_RESULT | NET_EVENT_WIFI_DISCONNECT_RESULT);
  net_mgmt_add_event_callback(&s_wifi_mgmt_cb);

  return 0;
}

SYS_INIT(sntp_time_sync_init, APPLICATION, CONFIG_APPLICATION_INIT_PRIORITY);

#endif /* CONFIG_SNTP_TIME_SYNC_ENABLE */
```

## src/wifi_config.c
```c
#include "wifi_config.h"

// #include <string.h>
#include <zephyr/device.h>
#include <zephyr/drivers/flash.h>
#include <zephyr/fs/nvs.h>
// #include <zephyr/kernel.h>
#include <zephyr/init.h>
#include <zephyr/logging/log.h>
#include <zephyr/shell/shell.h>
#include <zephyr/storage/flash_map.h>

LOG_MODULE_REGISTER(wifi_config);

static struct nvs_fs fs;

#define NVS_PARTITION storage_partition
#define NVS_PARTITION_DEVICE FIXED_PARTITION_DEVICE(NVS_PARTITION)
#define NVS_PARTITION_OFFSET FIXED_PARTITION_OFFSET(NVS_PARTITION)

#define SSID_ID 1
#define PASSWORD_ID 2

int wifi_config_get(struct wifi_config *config) {
  int rc;
  if (!fs.ready) {
    LOG_ERR("Flash not ready");
    return -1;
  }

  rc = nvs_read(&fs, SSID_ID, config->ssid, sizeof(config->ssid));
  if (rc < 0) {
    LOG_ERR("Failed to read SSID");
    return -1;
  }

  rc = nvs_read(&fs, PASSWORD_ID, config->password, sizeof(config->password));
  if (rc < 0) {
    LOG_ERR("Failed to read password");
    return -1;
  }

  return 0;
}

static int cmd_wifi_config(const struct shell *sh, size_t argc, char *argv[]) {
  const char *ssid = argv[1];
  const char *password = argv[2];

  if (argc != 3) {
    struct wifi_config config;
    int rc = wifi_config_get(&config);
    if (rc < 0) {
      LOG_ERR("Failed to get wifi config");
      return -1;
    }
    shell_print(sh, "SSID: %s, Password: %s", config.ssid, config.password);
    return 0;
  }

  shell_print(sh, "Setting SSID: %s, Password: %s", ssid, password);

  if (!fs.ready) {
    LOG_ERR("Flash not ready");
    return -1;
  }

  int rc = nvs_write(&fs, SSID_ID, ssid, strlen(ssid));
  if (rc < 0) {
    LOG_ERR("Failed to write SSID");
    return -1;
  }

  rc = nvs_write(&fs, PASSWORD_ID, password, strlen(password));
  if (rc < 0) {
    LOG_ERR("Failed to write password");
    return -1;
  }

  return 0;
}

SHELL_CMD_ARG_REGISTER(wifi_config, NULL,
                       "Set wifi SSID + password\n"
                       "<SSID> <PASSWORD>\n",
                       cmd_wifi_config, 0, 2);

static int wifi_config_init(void) {
  int rc;
  struct flash_pages_info info;

  LOG_INF("Flash Init start");

  /* define the nvs file system by settings with:
   *	sector_size equal to the pagesize,
   *	3 sectors
   *	starting at NVS_PARTITION_OFFSET
   */
  fs.flash_device = NVS_PARTITION_DEVICE;
  if (!device_is_ready(fs.flash_device)) {
    LOG_ERR("Flash device %s is not ready", fs.flash_device->name);
    return 1;
  }
  fs.offset = NVS_PARTITION_OFFSET;
  rc = flash_get_page_info_by_offs(fs.flash_device, fs.offset, &info);
  if (rc) {
    LOG_ERR("Unable to get page info");
    return 1;
  }
  fs.sector_size = info.size;
  fs.sector_count = 3U;

  rc = nvs_mount(&fs);
  if (rc) {
    LOG_ERR("Flash Init failed");
    return 1;
  }
  LOG_INF("Flash Init done");
  return 0;
}

SYS_INIT(wifi_config_init, APPLICATION, CONFIG_KERNEL_INIT_PRIORITY_DEFAULT);
```

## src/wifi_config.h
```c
#pragma once

struct wifi_config {
  char ssid[32];
  char password[64];
};

int wifi_config_get(struct wifi_config *config);
```
